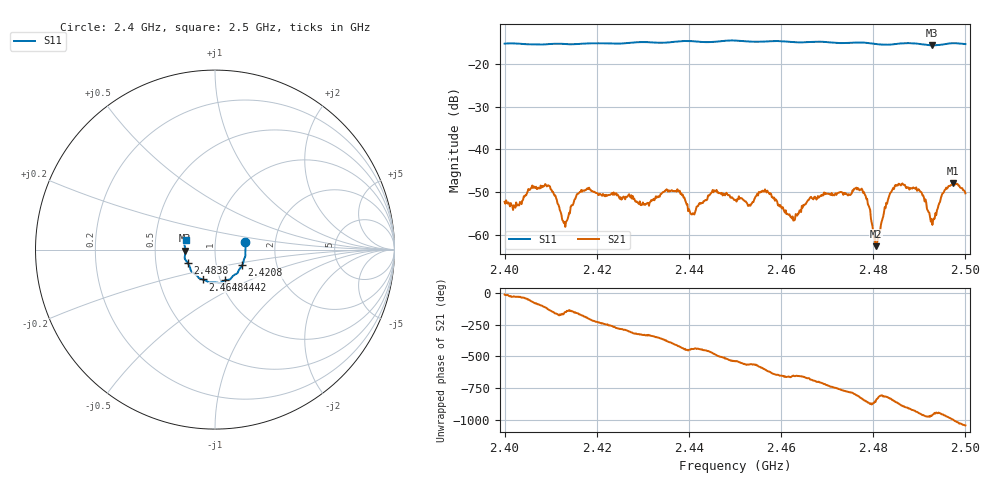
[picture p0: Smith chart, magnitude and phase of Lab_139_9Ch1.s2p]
# Hz S RI R 50
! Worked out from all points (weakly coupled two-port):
!   601 points, 2.4 GHz to 2.5 GHz, reference 50 ohm
!   highest |S21| = -47.89 dB at 2.4973 GHz (marker M1); lowest = -62.7 dB at 2.4805 GHz (marker M2)
!   lowest |S11| = -15.6 dB at 2.4928 GHz (marker M3), VSWR 1.40, Z = 35.8 - j0.379 ohm
!   |S11| at or under -10 dB: start of sweep to end of sweep
!   S12 and S22 are empty: the file has one direction only
!   S11 on the Smith chart (normalised r, x): 2.4 GHz: 1.40, +0.12; 2.4208 GHz: 1.33, -0.24; 2.4442 GHz: 1.05, -0.37; 2.4648 GHz: 0.83, -0.28; 2.4838 GHz: 0.73, -0.11; 2.5 GHz: 0.72, +0.08
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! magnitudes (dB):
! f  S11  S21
! 2.4 GHz  -15.2  -52.3
! 2.4093 GHz  -15.3  -48.5
! 2.4132 GHz  -15.3  -58.2
! 2.4167 GHz  -15.3  -49.5
! 2.4208 GHz  -15.1  -50.6
! 2.4333 GHz  -15.0  -51.2
! 2.4378 GHz  -14.7  -49.9
! 2.4408 GHz  -14.6  -55.0
! 2.4442 GHz  -14.9  -50.8
! 2.45 GHz  -14.5  -51.8
! 2.4568 GHz  -14.7  -50.1
! 2.4625 GHz  -14.8  -55.7
! 2.4648 GHz  -14.9  -53.0
! 2.4667 GHz  -14.8  -51.4
! 2.4772 GHz  -14.9  -49.4
! 2.4805 GHz  -15.3  -62.7
! 2.4833 GHz  -15.5  -51.4
! 2.4838 GHz  -15.4  -50.1
! 2.4898 GHz  -15.2  -49.3
! 2.4928 GHz  -15.6  -57.7
! 2.4973 GHz  -15.1  -47.9
! 2.5 GHz  -15.3  -50.3
